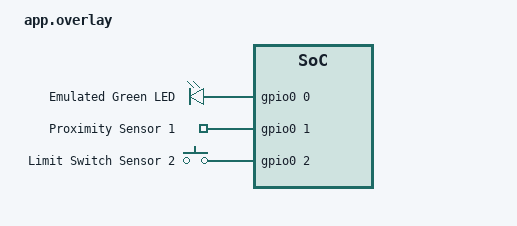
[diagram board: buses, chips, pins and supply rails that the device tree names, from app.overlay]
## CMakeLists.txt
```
cmake_minimum_required(VERSION 3.20.0)
# This line is critical and must come first.
list(APPEND ZEPHYR_EXTRA_MODULES ${CMAKE_CURRENT_SOURCE_DIR}/../../components/event_bus)
find_package(Zephyr REQUIRED HINTS $ENV{ZEPHYR_BASE})

project(washing_machine_sim)

# Add core and simulator source files
target_sources(app PRIVATE
    src/main.c
    src/controller/controller_thread.c
    src/shell_interface.c
    sim_door_sensor/src/sim_door_sensor.c
    sim_water_level/src/sim_water_level.c
)
# Add the FSM module as a subdirectory
add_subdirectory(fsm)

# Add include directory to find hearders
zephyr_include_directories(
    ${CMAKE_CURRENT_SOURCE_DIR}/include
    ${CMAKE_CURRENT_SOURCE_DIR}/../../components/event_bus/include
    ${CMAKE_CURRENT_SOURCE_DIR}/src/controller
    ${CMAKE_CURRENT_SOURCE_DIR}/../door_sensor/include
)

# Include headers from simulators
target_include_directories(app PRIVATE
    sim_door_sensor/include
    sim_water_level/include
    door_sensor/include
)
add_subdirectory(door_sensor)
# target_link_libraries(app PRIVATE door_sensor)

# Link the application against the library target.
target_link_libraries(app PRIVATE event_bus_lib)
```

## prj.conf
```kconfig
# Enable Zephyr shell for interactive command-line interface
CONFIG_SHELL=y

# Enable serial driver support
CONFIG_SERIAL=y

# Use UART as the shell console
CONFIG_UART_CONSOLE=y

# Set main thread stack size (in bytes)
CONFIG_MAIN_STACK_SIZE=2048

# Optional shell features
CONFIG_SHELL_HISTORY=y        # Enable shell command history
CONFIG_SHELL_CMDS=y           # Enable extra shell commands
CONFIG_DEVICE_SHELL=y         # Enable device shell commands

# Enable GPIO Emulator for native_sim (simulation environment)
CONFIG_GPIO_EMUL=y

# Enable assertions and unit testing (uncomment to use)
CONFIG_LOG=y
# Process log messages immediately. Crucial for debugging real-time issues.
CONFIG_LOG_MODE_IMMEDIATE=y
# Set the default log level for all modules to INFO.
# You can override this for specific modules if needed.
CONFIG_LOG_DEFAULT_LEVEL=3
# Increase the size of the message queue for logging.
# CONFIG_LOG_MSG_QUEUE_SIZE=1024



# GPIO support for simulators
CONFIG_GPIO=y
CONFIG_GPIO_INIT_PRIORITY=40
```

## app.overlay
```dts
/*
 * Copyright (c) 2024 Your Name
 * SPDX-License-Identifier: Apache-2.0
 *
 * This overlay adds devices that USE the existing GPIO emulator
 * provided by the native_sim board. It does not define a new one.
 */

/ {
    /*
     * We attach our virtual devices to the 'gpio0' controller
     * which is the label for the GPIO emulator device in the board's dts.
     */
    leds {
        compatible = "gpio-leds";
        emulated_led: emulated_led_0 {
            gpios = <&gpio0 0 GPIO_ACTIVE_HIGH>;
            label = "Emulated Green LED";
        };
    };

    sensors {
        compatible = "gpio-keys";

        sensor_0: sensor_0 {
            label = "Proximity Sensor 1";
            gpios = <&gpio0 1 GPIO_ACTIVE_HIGH>;
        };

        sensor_1: sensor_1 {
            label = "Limit Switch Sensor 2";
            gpios = <&gpio0 2 GPIO_ACTIVE_HIGH>;
        };
    };


    aliases {
        led0 = &emulated_led;
        sensor0 = &sensor_0;
        sensor1 = &sensor_1;
    };
};
```

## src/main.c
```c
#include <zephyr/kernel.h>
#include <zephyr/logging/log.h>
#include "event_bus.h"
#include "controller_thread.h"
#include "shell_interface.h"
#include "door_sensor.h"

LOG_MODULE_REGISTER(main, LOG_LEVEL_INF);

int main(void) {
    LOG_INF("System Init: Main");

    // Initialize the event bus first, as others depend on it.
    if (event_bus_init() != 0) {
        LOG_ERR("Failed to initialize event bus!");
        return 1;
    }

    // Initialize our new FSM controller thread.
    // This will register the callback and start the thread.
    if (controller_thread_init() != 0) {
        LOG_ERR("Failed to initialize controller thread!");
        return 1;
    }

    // Initialize the shell for user input.
    shell_interface_init();
    door_sensor_init();
    LOG_INF("All components initialized. System is now running.");

    // The main thread can now sleep, as all work is done in other threads.
    while (1) {
        k_sleep(K_FOREVER);
    }
    return 0; // Should never reach here
}
```

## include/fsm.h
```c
// fsm.h
#pragma once

typedef enum {
    FSM_STATE_IDLE,
    FSM_STATE_RUNNING,
    FSM_STATE_MAX
} fsm_state_t;


#define FSM_STATE_MAXIMUM (FSM_STATE_MAX - 1) 

fsm_state_t fsm_get_current_state(void);
void fsm_set_state(fsm_state_t new_state);
void fsm_step(void);
```

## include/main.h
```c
#ifndef MAIN_H
#define MAIN_H

#include <zephyr/device.h>
#include <zephyr/devicetree.h>
#include <zephyr/drivers/gpio.h>
#include <zephyr/kernel.h>
// Add your declarations here

bool is_door_closed(void);

#endif // MAIN_H
```

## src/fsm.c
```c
// fsm.c
#include <zephyr/sys/printk.h>
#include "fsm.h"


static fsm_state_t current_state = FSM_STATE_IDLE;

void fsm_step(void) { printk("⏱ FSM step\n"); }

fsm_state_t fsm_get_current_state(void)
{
    return current_state;
}

void fsm_set_state(fsm_state_t new_state)
{
    // Validate state bounds
    if (new_state < 0 || new_state >= FSM_STATE_MAX) {
        printk("⚠️ Invalid FSM state: %d\n", new_state);
        return;
    }    
    current_state = new_state;
    printk("🔄 FSM state changed to: %d\n", new_state);
}
```

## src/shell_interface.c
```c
#include <zephyr/shell/shell.h>
#include <zephyr/logging/log.h>
#include <stdlib.h>
#include "event_defs.h"
#include "event_bus.h"
#include "shell_interface.h"
#include "fsm.h"
#include "sim_door_sensor.h"

LOG_MODULE_REGISTER(shell_interface, LOG_LEVEL_INF);

static int cmd_start(const struct shell *shell, size_t argc, char **argv) {
    ARG_UNUSED(argc);
    ARG_UNUSED(argv);

    LOG_INF("Start button pressed, publishing event...");
    // Create and post the event for starting the wash cycle
    // This event can be handled by the FSM or any other component that listens for it
    // Here we use EVENT_START_BUTTON_PRESSED as the event ID
    // and a sample payload of 456 (could be any relevant data)
    // In a real application, you might want to pass more meaningful data in the payload    
    const app_event_t event = { .id = EVENT_START_BUTTON_PRESSED, .payload.s32 = 456 };
    event_bus_post(&event);
    shell_print(shell, "Start button event published.");
    return 0;
}

SHELL_CMD_REGISTER(start, NULL, "Start the wash cycle (event-based)", cmd_start);

// --- Shell Command to Send an Event ---

static int cmd_send_event(const struct shell *shell, size_t argc, char **argv)
{
    if (argc < 2) {
        shell_error(shell, "Please provide an event ID (integer).");
        return -EINVAL;
    }

    event_id_t event_id = (event_id_t)atoi(argv[1]);

    // Simple check to prevent sending wildly invalid event IDs.
    // This could be made more robust if needed.
    if (event_id >= EVENT_ID_COUNT) {
        shell_error(shell, "Invalid event ID: %d", event_id);
        return -EINVAL;
    }

    const app_event_t event_to_post = { .id = event_id };

    event_bus_post(&event_to_post);
    shell_print(shell, "Posted event with ID: %d", event_id);

    return 0;
}
// Register the "send" command with subcommands for each event type
// This makes the shell interface user-friendly and self-documenting.
SHELL_CMD_REGISTER(send_event, NULL, "Send a specific event to the event bus", cmd_send_event);

static int cmd_set_door_state(const struct shell *shell, size_t argc, char **argv)
{
    if (argc < 2) {
        shell_error(shell, "Please provide door state: 0 (open) or 1 (closed).");
        return -EINVAL;
    }

    int state = atoi(argv[1]);
    if (state != 0 && state != 1) {
        shell_error(shell, "Invalid state: %d. Use 0 (open) or 1 (closed).", state);
        return -EINVAL;
    }

    door_sensor_sim_set_state(state ? true : false);
    shell_print(shell, "Door sensor state set to: %s", state ? "closed" : "open");
    return 0;
}

SHELL_CMD_REGISTER(set_door_state, NULL, "Set the simulated door sensor state: 0=open, 1=closed", cmd_set_door_state);


void shell_interface_init(void) {
    // Nothing needed for now
}
```

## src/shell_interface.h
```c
#ifndef SHELL_INTERFACE_H
#define SHELL_INTERFACE_H

void shell_interface_init(void);

#endif // SHELL_INTERFACE_H
```
